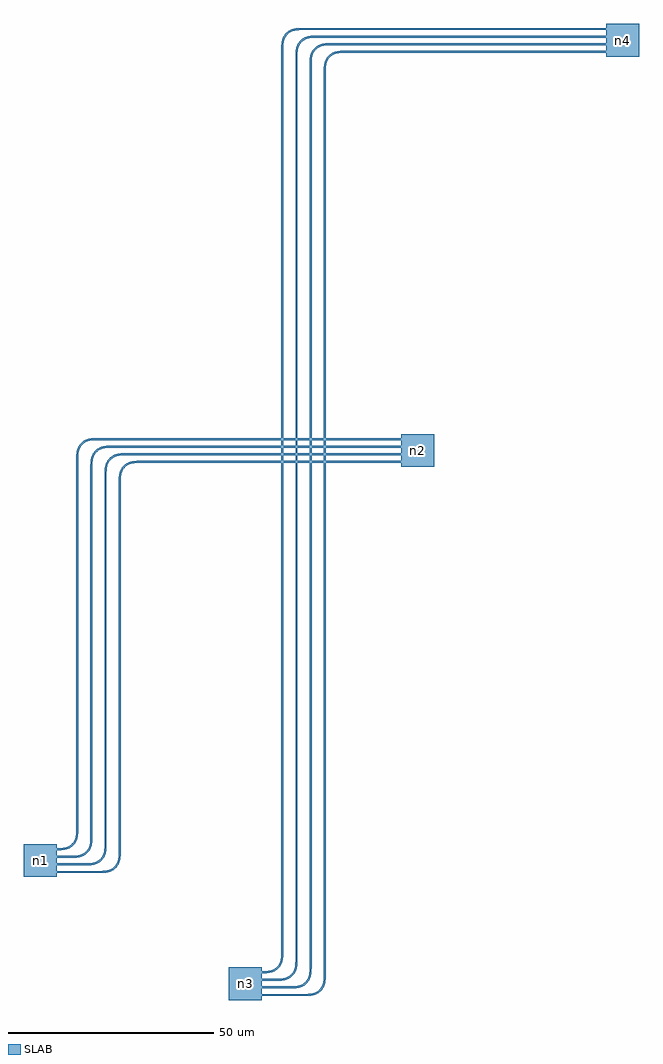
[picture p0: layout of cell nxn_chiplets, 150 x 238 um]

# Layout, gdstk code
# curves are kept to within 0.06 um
from math import pi, radians
import gdstk
lib = gdstk.Library(unit=1e-6, precision=1e-09)
def R(c, l, rs):  # rectangles x0, y0, x1, y1
    for r in rs: c.add(gdstk.rectangle(r[:2], r[2:], *l))
def P(c, l, *ps):  # polygons
    for p in ps: c.add(gdstk.Polygon(p, *l))
SLAB = (3, 0)

rectangle_s8_8_lwg_cfal_ = lib.new_cell('rectangle_S8_8_LWG_CFal_95ca53b5')
R(rectangle_s8_8_lwg_cfal_, SLAB, [(0,0,8,8)])

nxn_w1_e4_n0_s0_x8_y8_w_ = lib.new_cell('nxn_W1_E4_N0_S0_X8_Y8_W_9b40c0bd')
nxn_w1_e4_n0_s0_x8_y8_w_.add(gdstk.Reference(rectangle_s8_8_lwg_cfal_, (0,0)))

bend_euler_r5_a90_p0p5__ = lib.new_cell('bend_euler_R5_A90_P0p5__95224104')
P(bend_euler_r5_a90_p0p5__, SLAB, [(0,-0.225),(0,0.225),(1.363,0.269),(2.275,0.438),(3.032,0.758),(3.717,1.283),(4.242,1.968),(4.562,2.725),(4.731,3.637),(4.775,5),(5.225,5),(5.179,3.593),(4.994,2.599),(4.632,1.743),(4.035,0.965),(3.257,0.368),(2.401,0.006),(1.407,-0.179)])

straight_l90_csxs_sc_w0p = lib.new_cell('straight_L90_CSxs_sc_W0p45')
R(straight_l90_csxs_sc_w0p, SLAB, [(0,-0.225,90,0.225)])

straight_l74_csxs_sc_w0p = lib.new_cell('straight_L74_CSxs_sc_W0p45')
R(straight_l74_csxs_sc_w0p, SLAB, [(0,-0.225,74,0.225)])

straight_l3p45_csxs_sc_w = lib.new_cell('straight_L3p45_CSxs_sc_W0p45')
R(straight_l3p45_csxs_sc_w, SLAB, [(0,-0.225,3.45,0.225)])

straight_l70p55_csxs_sc_ = lib.new_cell('straight_L70p55_CSxs_sc_W0p45')
R(straight_l70p55_csxs_sc_, SLAB, [(0,-0.225,70.55,0.225)])

straight_l6p9_csxs_sc_w0 = lib.new_cell('straight_L6p9_CSxs_sc_W0p45')
R(straight_l6p9_csxs_sc_w0, SLAB, [(0,-0.225,6.9,0.225)])

straight_l67p1_csxs_sc_w = lib.new_cell('straight_L67p1_CSxs_sc_W0p45')
R(straight_l67p1_csxs_sc_w, SLAB, [(0,-0.225,67.1,0.225)])

straight_l10p35_csxs_sc_ = lib.new_cell('straight_L10p35_CSxs_sc_W0p45')
R(straight_l10p35_csxs_sc_, SLAB, [(0,-0.225,10.35,0.225)])

straight_l63p65_csxs_sc_ = lib.new_cell('straight_L63p65_CSxs_sc_W0p45')
R(straight_l63p65_csxs_sc_, SLAB, [(0,-0.225,63.65,0.225)])

taper_l10_w0p45_wnone_p_ = lib.new_cell('taper_L10_W0p45_WNone_P_8010e433')
R(taper_l10_w0p45_wnone_p_, SLAB, [(0,-0.225,10,0.225)])

straight_l200_csxs_sc_w0 = lib.new_cell('straight_L200_CSxs_sc_W0p45')
R(straight_l200_csxs_sc_w0, SLAB, [(0,-0.225,200,0.225)])

nxn_chiplets = lib.new_cell('nxn_chiplets')
nxn_chiplets.add(gdstk.Reference(nxn_w1_e4_n0_s0_x8_y8_w_, (100,100), rotation=pi, x_reflection=True))
nxn_chiplets.add(gdstk.Reference(nxn_w1_e4_n0_s0_x8_y8_w_, (0,0)))
nxn_chiplets.add(gdstk.Reference(nxn_w1_e4_n0_s0_x8_y8_w_, (50,-30)))
nxn_chiplets.add(gdstk.Reference(nxn_w1_e4_n0_s0_x8_y8_w_, (150,200), rotation=pi, x_reflection=True))
nxn_chiplets.add(gdstk.Reference(bend_euler_r5_a90_p0p5__, (13,11.775), rotation=3*pi/2, x_reflection=True))
nxn_chiplets.add(gdstk.Reference(bend_euler_r5_a90_p0p5__, (18,106.775), rotation=pi))
nxn_chiplets.add(gdstk.Reference(straight_l90_csxs_sc_w0p, (13,101.775), rotation=3*pi/2))
nxn_chiplets.add(gdstk.Reference(straight_l74_csxs_sc_w0p, (18,106.775)))
nxn_chiplets.add(gdstk.Reference(bend_euler_r5_a90_p0p5__, (16.45,9.925), rotation=3*pi/2, x_reflection=True))
nxn_chiplets.add(gdstk.Reference(straight_l3p45_csxs_sc_w, (11.45,4.925), rotation=pi))
nxn_chiplets.add(gdstk.Reference(bend_euler_r5_a90_p0p5__, (21.45,104.925), rotation=pi))
nxn_chiplets.add(gdstk.Reference(straight_l90_csxs_sc_w0p, (16.45,99.925), rotation=3*pi/2))
nxn_chiplets.add(gdstk.Reference(straight_l70p55_csxs_sc_, (21.45,104.925)))
nxn_chiplets.add(gdstk.Reference(bend_euler_r5_a90_p0p5__, (19.9,8.075), rotation=3*pi/2, x_reflection=True))
nxn_chiplets.add(gdstk.Reference(straight_l6p9_csxs_sc_w0, (14.9,3.075), rotation=pi))
nxn_chiplets.add(gdstk.Reference(bend_euler_r5_a90_p0p5__, (24.9,103.075), rotation=pi))
nxn_chiplets.add(gdstk.Reference(straight_l90_csxs_sc_w0p, (19.9,98.075), rotation=3*pi/2))
nxn_chiplets.add(gdstk.Reference(straight_l67p1_csxs_sc_w, (24.9,103.075)))
nxn_chiplets.add(gdstk.Reference(bend_euler_r5_a90_p0p5__, (23.35,6.225), rotation=3*pi/2, x_reflection=True))
nxn_chiplets.add(gdstk.Reference(straight_l10p35_csxs_sc_, (18.35,1.225), rotation=pi))
nxn_chiplets.add(gdstk.Reference(bend_euler_r5_a90_p0p5__, (28.35,101.225), rotation=pi))
nxn_chiplets.add(gdstk.Reference(straight_l90_csxs_sc_w0p, (23.35,96.225), rotation=3*pi/2))
nxn_chiplets.add(gdstk.Reference(straight_l63p65_csxs_sc_, (28.35,101.225)))
nxn_chiplets.add(gdstk.Reference(bend_euler_r5_a90_p0p5__, (63,-18.225), rotation=3*pi/2, x_reflection=True))
nxn_chiplets.add(gdstk.Reference(bend_euler_r5_a90_p0p5__, (68,206.775), rotation=pi))
nxn_chiplets.add(gdstk.Reference(taper_l10_w0p45_wnone_p_, (63,191.775), rotation=pi/2))
nxn_chiplets.add(gdstk.Reference(straight_l200_csxs_sc_w0, (63,191.775), rotation=3*pi/2))
nxn_chiplets.add(gdstk.Reference(taper_l10_w0p45_wnone_p_, (63,-8.225), rotation=3*pi/2))
nxn_chiplets.add(gdstk.Reference(straight_l74_csxs_sc_w0p, (68,206.775)))
nxn_chiplets.add(gdstk.Reference(bend_euler_r5_a90_p0p5__, (66.45,-20.075), rotation=3*pi/2, x_reflection=True))
nxn_chiplets.add(gdstk.Reference(straight_l3p45_csxs_sc_w, (61.45,-25.075), rotation=pi))
nxn_chiplets.add(gdstk.Reference(bend_euler_r5_a90_p0p5__, (71.45,204.925), rotation=pi))
nxn_chiplets.add(gdstk.Reference(taper_l10_w0p45_wnone_p_, (66.45,189.925), rotation=pi/2))
nxn_chiplets.add(gdstk.Reference(straight_l200_csxs_sc_w0, (66.45,189.925), rotation=3*pi/2))
nxn_chiplets.add(gdstk.Reference(taper_l10_w0p45_wnone_p_, (66.45,-10.075), rotation=3*pi/2))
nxn_chiplets.add(gdstk.Reference(straight_l70p55_csxs_sc_, (71.45,204.925)))
nxn_chiplets.add(gdstk.Reference(bend_euler_r5_a90_p0p5__, (69.9,-21.925), rotation=3*pi/2, x_reflection=True))
nxn_chiplets.add(gdstk.Reference(straight_l6p9_csxs_sc_w0, (64.9,-26.925), rotation=pi))
nxn_chiplets.add(gdstk.Reference(bend_euler_r5_a90_p0p5__, (74.9,203.075), rotation=pi))
nxn_chiplets.add(gdstk.Reference(taper_l10_w0p45_wnone_p_, (69.9,188.075), rotation=pi/2))
nxn_chiplets.add(gdstk.Reference(straight_l200_csxs_sc_w0, (69.9,188.075), rotation=3*pi/2))
nxn_chiplets.add(gdstk.Reference(taper_l10_w0p45_wnone_p_, (69.9,-11.925), rotation=3*pi/2))
nxn_chiplets.add(gdstk.Reference(straight_l67p1_csxs_sc_w, (74.9,203.075)))
nxn_chiplets.add(gdstk.Reference(bend_euler_r5_a90_p0p5__, (73.35,-23.775), rotation=3*pi/2, x_reflection=True))
nxn_chiplets.add(gdstk.Reference(straight_l10p35_csxs_sc_, (68.35,-28.775), rotation=pi))
nxn_chiplets.add(gdstk.Reference(bend_euler_r5_a90_p0p5__, (78.35,201.225), rotation=pi))
nxn_chiplets.add(gdstk.Reference(taper_l10_w0p45_wnone_p_, (73.35,186.225), rotation=pi/2))
nxn_chiplets.add(gdstk.Reference(straight_l200_csxs_sc_w0, (73.35,186.225), rotation=3*pi/2))
nxn_chiplets.add(gdstk.Reference(taper_l10_w0p45_wnone_p_, (73.35,-13.775), rotation=3*pi/2))
nxn_chiplets.add(gdstk.Reference(straight_l63p65_csxs_sc_, (78.35,201.225)))
nxn_chiplets.add(gdstk.Label('n2', (96,104), layer=101, texttype=0))
nxn_chiplets.add(gdstk.Label('n1', (4,4), layer=101, texttype=0))
nxn_chiplets.add(gdstk.Label('n3', (54,-26), layer=101, texttype=0))
nxn_chiplets.add(gdstk.Label('n4', (146,204), layer=101, texttype=0))

lib.write_gds('nxn_chiplets.gds')
